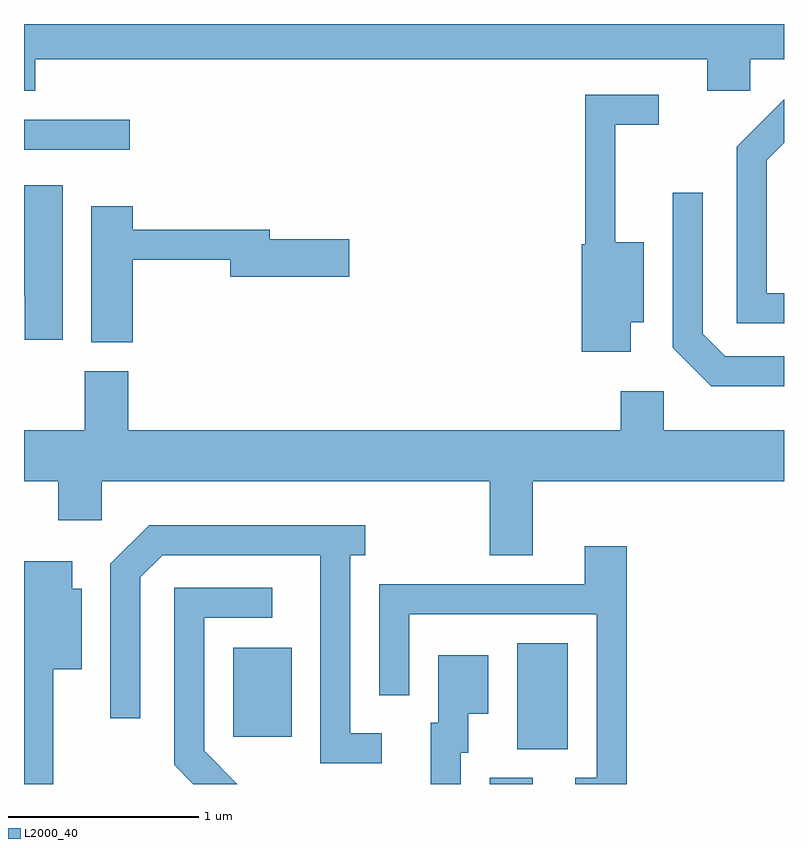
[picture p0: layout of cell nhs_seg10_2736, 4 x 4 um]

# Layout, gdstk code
import gdstk
lib = gdstk.Library(unit=1e-6, precision=1e-09)
def R(c, l, rs):  # rectangles x0, y0, x1, y1
    for r in rs: c.add(gdstk.rectangle(r[:2], r[2:], *l))
def P(c, l, *ps):  # polygons
    for p in ps: c.add(gdstk.Polygon(p, *l))
L2000_40 = (2000, 40)

nhs_seg10_2736 = lib.new_cell('nhs_seg10_2736')
R(nhs_seg10_2736, L2000_40, [(268.061,2134.522,268.289,2134.554), (268.206,2134.706,268.474,2135.264), (266.711,2134.771,267.019,2135.239), (265.611,2137.861,266.168,2138.019)])
P(nhs_seg10_2736, L2000_40, [(265.669,2138.336),(269.206,2138.336),(269.206,2138.171),(269.434,2138.171),(269.434,2138.336),(269.611,2138.336),(269.611,2138.522),(265.611,2138.522),(265.611,2138.171),(265.669,2138.171)],
  [(268.804,2136.951),(268.874,2136.951),(268.874,2137.374),(268.724,2137.374),(268.724,2137.991),(268.953,2137.991),(268.953,2138.149),(268.566,2138.149),(268.566,2137.364),(268.546,2137.364),(268.546,2136.796),(268.804,2136.796)],
  [(269.611,2137.104),(269.519,2137.104),(269.519,2137.804),(269.611,2137.896),(269.611,2138.126),(269.361,2137.877),(269.361,2136.946),(269.611,2136.946)],
  [(265.814,2137.674),(265.611,2137.674),(265.611,2137.091),(265.616,2137.091),(265.616,2136.861),(265.814,2136.861)],
  [(269.611,2136.774),(269.302,2136.774),(269.184,2136.892),(269.184,2137.633),(269.026,2137.633),(269.026,2136.819),(269.229,2136.616),(269.611,2136.616)],
  [(266.184,2137.281),(266.696,2137.281),(266.696,2137.191),(267.324,2137.191),(267.324,2137.389),(266.904,2137.389),(266.904,2137.439),(266.184,2137.439),(266.184,2137.564),(265.966,2137.564),(265.966,2136.846),(266.184,2136.846)],
  [(268.289,2136.116),(269.611,2136.116),(269.611,2136.384),(268.979,2136.384),(268.979,2136.589),(268.751,2136.589),(268.751,2136.384),(266.159,2136.384),(266.159,2136.694),(265.931,2136.694),(265.931,2136.384),(265.611,2136.384),(265.611,2136.116),(265.791,2136.116),(265.791,2135.911),(266.019,2135.911),(266.019,2136.116),(268.061,2136.116),(268.061,2135.726),(268.289,2135.726)],
  [(267.493,2134.789),(267.329,2134.789),(267.329,2135.726),(267.408,2135.726),(267.408,2135.884),(266.269,2135.884),(266.066,2135.682),(266.066,2134.868),(266.224,2134.868),(266.224,2135.609),(266.342,2135.726),(267.171,2135.726),(267.171,2134.631),(267.493,2134.631)],
  [(268.784,2135.774),(268.561,2135.774),(268.561,2135.574),(267.481,2135.574),(267.481,2134.988),(267.639,2134.988),(267.639,2135.416),(268.626,2135.416),(268.626,2134.554),(268.513,2134.554),(268.513,2134.522),(268.784,2134.522)],
  [(265.764,2135.126),(265.914,2135.126),(265.914,2135.549),(265.864,2135.549),(265.864,2135.694),(265.611,2135.694),(265.611,2134.522),(265.764,2134.522)],
  [(266.559,2134.697),(266.559,2135.396),(266.918,2135.396),(266.918,2135.554),(266.401,2135.554),(266.401,2134.624),(266.503,2134.522),(266.734,2134.522)],
  [(267.909,2134.686),(267.949,2134.686),(267.949,2134.891),(268.054,2134.891),(268.054,2135.199),(267.791,2135.199),(267.791,2134.844),(267.751,2134.844),(267.751,2134.522),(267.909,2134.522)])

lib.write_gds('nhs_seg10_2736.gds')
